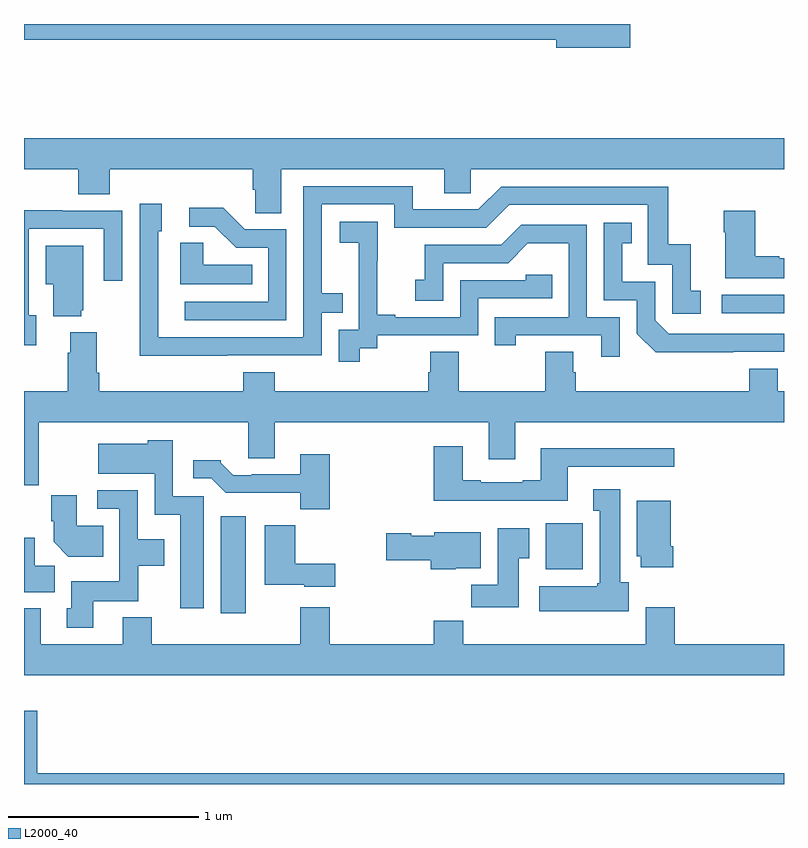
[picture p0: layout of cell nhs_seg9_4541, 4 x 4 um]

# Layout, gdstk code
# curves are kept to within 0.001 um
import gdstk
lib = gdstk.Library(unit=1e-6, precision=1e-09)
def R(c, l, rs):  # rectangles x0, y0, x1, y1
    for r in rs: c.add(gdstk.rectangle(r[:2], r[2:], *l))
def P(c, l, *ps):  # polygons
    for p in ps: c.add(gdstk.Polygon(p, *l))
L2000_40 = (2000, 40)

nhs_seg9_4541 = lib.new_cell('nhs_seg9_4541')
R(nhs_seg9_4541, L2000_40, [(372.035,1211.4,372.166,1211.908), (373.745,1211.63,373.942,1211.872), (374.673,1212.978,375,1213.074)])
P(nhs_seg9_4541, L2000_40, [(374.191,1214.5),(371,1214.5),(371,1214.416),(373.802,1214.416),(373.802,1214.374),(374.191,1214.374)],
  [(372.355,1213.736),(373.211,1213.736),(373.211,1213.609),(373.35,1213.609),(373.35,1213.736),(375,1213.736),(375,1213.9),(371,1213.9),(371,1213.736),(371.285,1213.736),(371.285,1213.603),(371.45,1213.603),(371.45,1213.736),(372.203,1213.736),(372.203,1213.627),(372.216,1213.627),(372.216,1213.504),(372.355,1213.504)],
  [(372.071,1212.756),(372.567,1212.756),(372.567,1212.981),(372.677,1212.981),(372.677,1213.082),(372.567,1213.082),(372.567,1213.551),(372.948,1213.551),(372.948,1213.428),(373.434,1213.428),(373.554,1213.548),(374.283,1213.548),(374.283,1213.233),(374.412,1213.233),(374.412,1212.975),(374.563,1212.975),(374.563,1213.095),(374.51,1213.095),(374.51,1213.342),(374.392,1213.342),(374.392,1213.644),(373.512,1213.644),(373.392,1213.524),(373.045,1213.524),(373.045,1213.647),(372.471,1213.647),(372.471,1212.852),(371.706,1212.852),(371.706,1213.41),(371.725,1213.41),(371.725,1213.555),(371.61,1213.555),(371.61,1213.061),(371.608,1213.061),(371.608,1212.755)],
  [(372.381,1213.419),(372.162,1213.419),(372.049,1213.532),(371.871,1213.532),(371.871,1213.434),(372.005,1213.434),(372.116,1213.323),(372.285,1213.323),(372.285,1213.038),(371.847,1213.038),(371.847,1212.942),(372.381,1212.942)],
  [(371.065,1212.966),(371.025,1212.966),(371.025,1213.422),(371.421,1213.422),(371.421,1213.149),(371.517,1213.149),(371.517,1213.518),(371.201,1213.518),(371.201,1213.52),(371,1213.52),(371,1212.81),(371.065,1212.81)],
  [(375,1213.267),(374.975,1213.267),(374.975,1213.277),(374.848,1213.277),(374.848,1213.516),(374.683,1213.516),(374.683,1213.403),(374.69,1213.403),(374.69,1213.163),(375,1213.163)],
  [(372.766,1212.793),(372.858,1212.793),(372.858,1212.861),(373.392,1212.861),(373.392,1213.056),(373.781,1213.056),(373.781,1213.179),(373.641,1213.179),(373.641,1213.152),(373.296,1213.152),(373.296,1212.957),(372.955,1212.957),(372.955,1212.97),(372.86,1212.97),(372.86,1213.253),(372.861,1213.253),(372.861,1213.459),(372.663,1213.459),(372.663,1213.349),(372.761,1213.349),(372.761,1213.121),(372.762,1213.121),(372.762,1212.891),(372.657,1212.891),(372.657,1212.723),(372.766,1212.723)],
  [(374.732,1212.774),(375,1212.774),(375,1212.87),(374.394,1212.87),(374.322,1212.942),(374.322,1213.143),(374.149,1213.143),(374.149,1213.347),(374.198,1213.347),(374.198,1213.453),(374.052,1213.453),(374.052,1213.047),(374.226,1213.047),(374.226,1212.87),(374.324,1212.773)],
  [(374.136,1212.957),(373.962,1212.957),(373.962,1213.443),(373.616,1213.443),(373.511,1213.338),(373.108,1213.338),(373.108,1213.153),(373.059,1213.153),(373.059,1213.044),(373.206,1213.044),(373.206,1213.242),(373.548,1213.242),(373.652,1213.346),(373.866,1213.346),(373.866,1212.957),(373.477,1212.957),(373.477,1212.81),(373.588,1212.81),(373.588,1212.861),(374.039,1212.861),(374.039,1212.75),(374.136,1212.75)],
  [(372.2,1213.234),(371.943,1213.234),(371.943,1213.349),(371.822,1213.349),(371.822,1213.13),(372.2,1213.13)],
  [(371.3,1212.993),(371.311,1212.993),(371.311,1213.333),(371.114,1213.333),(371.114,1213.13),(371.153,1213.13),(371.153,1212.962),(371.3,1212.962)],
  [(372.155,1212.568),(371.396,1212.568),(371.396,1212.664),(371.383,1212.664),(371.383,1212.877),(371.243,1212.877),(371.243,1212.77),(371.231,1212.77),(371.231,1212.568),(371,1212.568),(371,1212.072),(371.077,1212.072),(371.077,1212.404),(372.179,1212.404),(372.179,1212.214),(372.319,1212.214),(372.319,1212.404),(373.445,1212.404),(373.445,1212.21),(373.585,1212.21),(373.585,1212.404),(375,1212.404),(375,1212.568),(374.968,1212.568),(374.968,1212.685),(374.816,1212.685),(374.816,1212.568),(373.904,1212.568),(373.904,1212.666),(373.891,1212.666),(373.891,1212.776),(373.744,1212.776),(373.744,1212.568),(373.287,1212.568),(373.287,1212.776),(373.139,1212.776),(373.139,1212.666),(373.127,1212.666),(373.127,1212.568),(372.32,1212.568),(372.32,1212.667),(372.155,1212.667)],
  [(371.947,1212.015),(371.784,1212.015),(371.784,1212.31),(371.652,1212.31),(371.652,1212.292),(371.391,1212.292),(371.391,1212.134),(371.688,1212.134),(371.688,1211.918),(371.822,1211.918),(371.822,1211.424),(371.947,1211.424)],
  [(373.861,1212.171),(374.422,1212.171),(374.422,1212.268),(373.721,1212.268),(373.721,1212.1),(373.625,1212.1),(373.625,1212.087),(373.405,1212.087),(373.405,1212.1),(373.309,1212.1),(373.309,1212.277),(373.157,1212.277),(373.157,1211.99),(373.861,1211.99)],
  [(372.608,1212.235),(372.455,1212.235),(372.455,1212.129),(372.199,1212.129),(372.199,1212.126),(372.1,1212.126),(372.036,1212.19),(372.036,1212.205),(371.892,1212.205),(371.892,1212.108),(371.985,1212.108),(372.061,1212.032),(372.453,1212.032),(372.453,1211.945),(372.608,1211.945)],
  [(374.182,1211.562),(374.137,1211.562),(374.137,1212.052),(373.997,1212.052),(373.997,1211.939),(374.03,1211.939),(374.03,1211.556),(374.017,1211.556),(374.017,1211.542),(373.713,1211.542),(373.713,1211.408),(374.182,1211.408)],
  [(371.365,1211.462),(371.601,1211.462),(371.601,1211.648),(371.737,1211.648),(371.737,1211.788),(371.598,1211.788),(371.598,1212.045),(371.385,1212.045),(371.385,1211.949),(371.502,1211.949),(371.502,1211.566),(371.249,1211.566),(371.249,1211.424),(371.225,1211.424),(371.225,1211.322),(371.365,1211.322)],
  [(371.417,1211.86),(371.278,1211.86),(371.278,1212.019),(371.144,1212.019),(371.144,1211.884),(371.156,1211.884),(371.156,1211.774),(371.234,1211.696),(371.417,1211.696)],
  [(374.417,1211.752),(374.404,1211.752),(374.404,1211.992),(374.225,1211.992),(374.225,1211.7),(374.246,1211.7),(374.246,1211.64),(374.417,1211.64)],
  [(372.637,1211.659),(372.428,1211.659),(372.428,1211.863),(372.266,1211.863),(372.266,1211.549),(372.474,1211.549),(372.474,1211.537),(372.637,1211.537)],
  [(373.603,1211.689),(373.66,1211.689),(373.66,1211.845),(373.493,1211.845),(373.493,1211.548),(373.354,1211.548),(373.354,1211.43),(373.603,1211.43)],
  [(373.272,1211.636),(373.405,1211.636),(373.405,1211.824),(373.158,1211.824),(373.158,1211.806),(373.038,1211.806),(373.038,1211.819),(372.906,1211.819),(372.906,1211.677),(373.142,1211.677),(373.142,1211.63),(373.272,1211.63)],
  [(371.161,1211.648),(371.056,1211.648),(371.056,1211.797),(371,1211.797),(371,1211.51),(371.161,1211.51)],
  [(375,1211.236),(374.426,1211.236),(374.426,1211.431),(374.273,1211.431),(374.273,1211.236),(373.313,1211.236),(373.313,1211.36),(373.157,1211.36),(373.157,1211.236),(372.608,1211.236),(372.608,1211.431),(372.455,1211.431),(372.455,1211.236),(371.672,1211.236),(371.672,1211.377),(371.519,1211.377),(371.519,1211.236),(371.089,1211.236),(371.089,1211.425),(371,1211.425),(371,1211.072),(375,1211.072)],
  [(375,1210.556),(371.069,1210.556),(371.069,1210.885),(371,1210.885),(371,1210.5),(375,1210.5)])

lib.write_gds('nhs_seg9_4541.gds')
